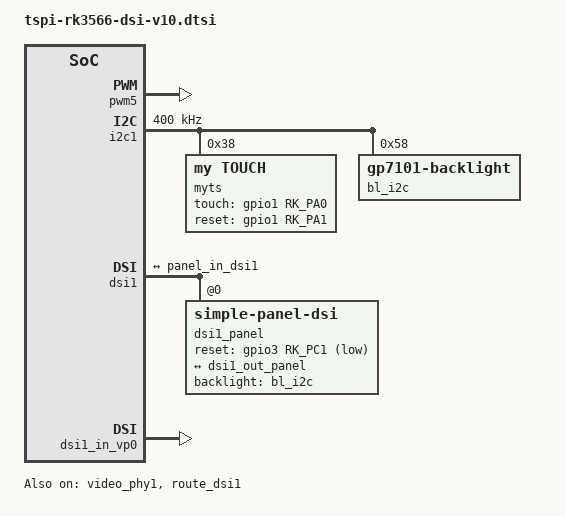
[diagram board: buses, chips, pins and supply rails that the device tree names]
/*********************************************************************
 *           立创开发板不靠卖板赚钱，以培养中国工程师为己任  
 *         泰山派软硬件资料与相关扩展板软硬件资料官网全部开源
 *                      开发板官网：www.lckfb.com            
 *                     立创论坛：oshwhub.com/forum           
 *            关注B站：【立创开发板】，掌握我们的最新动态！  
 *********************************************************************
 * 文件名：tspi-rk3566-dsi-v10.dtsi
 * 描述：mipi 屏幕
 * 更新:
 * 时间          作者           联系           说明
 * 2023-09-13   吴才成    1378913492@qq.com   v1.0.0
 *********************************************************************/

&pwm5 {
	status = "okay";
};


&i2c1 {
    status = "okay";
    clock-frequency = <400000>;
    // 触摸节点
    myts@38 {
        compatible = "my,touch";
        reg = <0x38>;
        max-x = <480>;  // 分辨率 X
        max-y = <800>;  // 分辨率 Y
        touch-gpio = <&gpio1 RK_PA0 IRQ_TYPE_LEVEL_LOW>;
        reset-gpio = <&gpio1 RK_PA1 GPIO_ACTIVE_HIGH>;
    };


    // 背光芯片节点
	// I2C转PWM背光驱动芯片 GP7101，用于保护屏幕背光
    bl_i2c:GP7101@58 {
        compatible = "gp7101-backlight";
        reg = <0x58>;
        max-brightness-levels = <255>;
        default-brightness-level = <100>;
    };
};


&pinctrl {
	dsi1 {
		dsi1_rst_gpio: dsi1-rst-gpio {
			rockchip,pins = <3 RK_PC1 RK_FUNC_GPIO &pcfg_pull_none>;
		};
		touch_gpio: touch-gpio {
			rockchip,pins = <1 RK_PA0 RK_FUNC_GPIO &pcfg_pull_up>;
		};
	};
};

/*
 * video_phy1 needs to be enabled
 * when dsi1 is enabled
 */
&dsi1 {
	status = "okay";
};

&dsi1_in_vp0 {
	status = "okay";
};

&dsi1_in_vp1 {
	status = "disabled";
};

&video_phy1 {
	status = "okay";
};

&route_dsi1 {
	status = "okay";//wucaicheng mipi okay
	connect = <&vp0_out_dsi1>;
};

/************************************************************************************************************************************************
当前为立创官方3.1寸800x480 MIPI触摸屏
ST7701屏幕，480x800分辨率
************************************************************************************************************************************************/
&dsi1 {
	status = "okay";
	// rockchip,lane-rate = <421>;  //akiva
	dsi1_panel: panel@0 {
		status = "okay";
		compatible = "simple-panel-dsi";
		rotation = <90>;  // 顺时针旋转90度
		reset-gpios = <&gpio3 RK_PC1 GPIO_ACTIVE_LOW>;
		pinctrl-names = "default";
		pinctrl-0 = <&dsi1_rst_gpio>;
		reg = <0>;
		backlight = <&bl_i2c>;
		reset-delay-ms = <30>;
		enable-delay-ms = <100>;
		prepare-delay-ms = <20>;
		unprepare-delay-ms = <20>;
		disable-delay-ms = <20>;
		init-delay-ms = <10>;
		
		panel-width-mm = <480>;
		panel-height-mm = <800>;
		panel-dsi-lane = <2>;

		dsi,flags = <(MIPI_DSI_MODE_VIDEO | MIPI_DSI_MODE_VIDEO_BURST |
			MIPI_DSI_MODE_LPM | MIPI_DSI_MODE_EOT_PACKET)>;
		dsi,format = <MIPI_DSI_FMT_RGB888>;
		dsi,lanes = <2>;

		panel-init-sequence = [
			39 00 06 ff 77 01 00 00 13
			39 00 02 ef 08
			39 00 06 ff 77 01 00 00 10
			39 00 03 c0 63 00
			39 00 03 c1 10 02
			39 00 03 c2 31 02
			39 00 02 cc 10
			39 00 11 b0 c0 0c 92 0c 10 05 02 0d 07 21 04 53 11 6a 32 1f
			39 00 11 b1 c0 87 cf 0c 10 06 00 03 08 1d 06 54 12 e6 ec 0f
			39 00 06 ff 77 01 00 00 11
			39 00 02 b0 5d
			39 00 02 b1 62
			39 00 02 b2 82
			39 00 02 b3 80
			39 00 02 b5 42
			39 00 02 b7 85
			39 00 02 b8 20
			39 00 02 c0 09
			39 00 02 c1 78
			39 00 02 c2 78
			39 00 02 d0 88
			39 ff 02 ee 42
			39 00 04 e0 00 00 02
			39 00 0c e1 04 a0 06 a0 05 a0 07 a0 00 44 44
			39 00 0d e2 00 00 33 33 01 a0 00 00 01 a0 00 00
			39 00 05 e3 00 00 33 33
			39 00 03 e4 44 44
			39 00 11 e5 0c 30 a0 a0 0e 32 a0 a0 08 2c a0 a0 0a 2e a0 a0
			39 00 05 e6 00 00 33 33
			39 00 03 e7 44 44
			39 00 11 e8 0d 31 a0 a0 0f 33 a0 a0 09 2d a0 a0 0b 2f a0 a0
			39 00 08 eb 00 01 e4 e4 44 88 00
			39 00 11 ed ff f5 47 6f 0b a1 a2 bf fb 2a 1a b0 f6 74 5f ff
			39 00 07 ef 08 08 08 40 3f 64
			39 00 06 ff 77 01 00 00 13
			39 00 03 e8 00 0e
			39 00 06 ff 77 01 00 00 00
			39 ff 01 11
			39 00 06 ff 77 01 00 00 13
			39 ff 03 e8 00 0c
			39 00 03 e8 00 00
			39 00 06 ff 77 01 00 00 00
			39 00 02 3a 50
			39 ff 01 29
		];

		panel-exit-sequence = [
			05 00 01 28
			05 00 01 10
		];

		disp_timings1: display-timings {
			native-mode = <&dsi1_timing0>;
			dsi1_timing0: timing0 {
				clock-frequency = <39600000>;
				hactive = <480>;
				vactive = <800>;
				hfront-porch = <80>;
				hsync-len = <20>;
				hback-porch = <20>;
				vfront-porch = <220>;
				vsync-len = <10>;
				vback-porch = <70>;
				hsync-active = <0>;
				vsync-active = <0>;
				de-active = <0>;
				pixelclk-active = <0>;
			};
		};

		ports {
			#address-cells = <1>;
			#size-cells = <0>;

			port@0 {
				reg = <0>;
				panel_in_dsi1: endpoint {
					remote-endpoint = <&dsi1_out_panel>;
				};
			};
		};
	};

	ports {
		#address-cells = <1>;
		#size-cells = <0>;

		port@1 {
			reg = <1>;
			dsi1_out_panel: endpoint {
				remote-endpoint = <&panel_in_dsi1>;
			};
		};
	};
};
